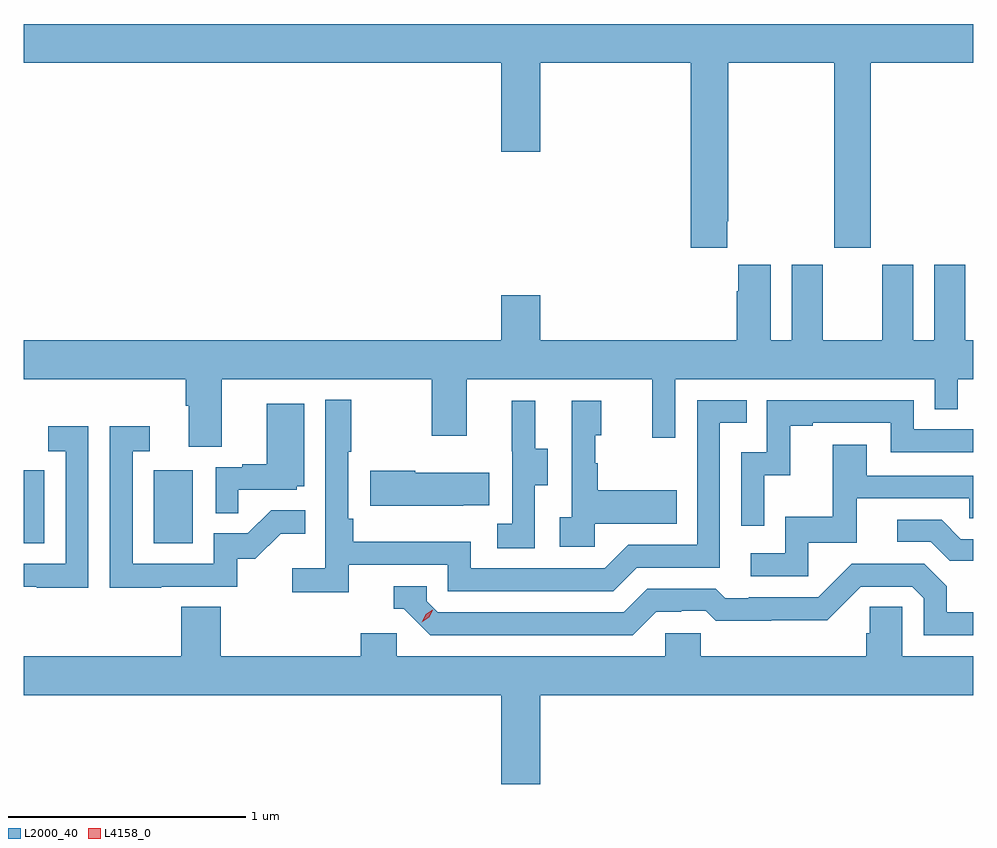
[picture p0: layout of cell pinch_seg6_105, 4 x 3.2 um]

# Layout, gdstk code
import gdstk
lib = gdstk.Library(unit=1e-6, precision=1e-09)
def R(c, l, rs):  # rectangles x0, y0, x1, y1
    for r in rs: c.add(gdstk.rectangle(r[:2], r[2:], *l))
def P(c, l, *ps):  # polygons
    for p in ps: c.add(gdstk.Polygon(p, *l))
L2000_40 = (2000, 40)
L4158_0 = (4158, 0)

pinch_seg6_105 = lib.new_cell('pinch_seg6_105')
R(pinch_seg6_105, L2000_40, [(894.265,922.668,894.352,922.975), (894.812,922.668,894.976,922.975)])
P(pinch_seg6_105, L2000_40, [(897.229,924.025),(897.234,924.025),(897.234,924.692),(897.679,924.692),(897.679,923.913),(897.834,923.913),(897.834,924.692),(898.265,924.692),(898.265,924.856),(894.265,924.856),(894.265,924.692),(896.276,924.692),(896.276,924.318),(896.44,924.318),(896.44,924.692),(897.074,924.692),(897.074,923.913),(897.229,923.913)],
  [(895.099,923.36),(895.984,923.36),(895.984,923.121),(896.131,923.121),(896.131,923.36),(896.912,923.36),(896.912,923.112),(897.009,923.112),(897.009,923.36),(898.104,923.36),(898.104,923.233),(898.2,923.233),(898.2,923.36),(898.265,923.36),(898.265,923.524),(898.231,923.524),(898.231,923.842),(898.1,923.842),(898.1,923.524),(898.012,923.524),(898.012,923.842),(897.881,923.842),(897.881,923.524),(897.631,923.524),(897.631,923.842),(897.5,923.842),(897.5,923.524),(897.412,923.524),(897.412,923.842),(897.275,923.842),(897.275,923.729),(897.269,923.729),(897.269,923.524),(896.44,923.524),(896.44,923.713),(896.276,923.713),(896.276,923.524),(894.265,923.524),(894.265,923.36),(894.947,923.36),(894.947,923.248),(894.959,923.248),(894.959,923.074),(895.099,923.074)],
  [(895.634,922.578),(896.052,922.578),(896.052,922.467),(896.749,922.467),(896.848,922.566),(897.198,922.566),(897.198,923.175),(897.311,923.175),(897.311,923.271),(897.102,923.271),(897.102,922.662),(896.811,922.662),(896.712,922.563),(896.148,922.563),(896.148,922.675),(895.652,922.675),(895.652,922.771),(895.632,922.771),(895.632,923.053),(895.645,923.053),(895.645,923.272),(895.536,923.272),(895.536,922.564),(895.395,922.564),(895.395,922.462),(895.634,922.462)],
  [(897.384,922.955),(897.494,922.955),(897.494,923.163),(897.589,923.163),(897.589,923.175),(897.918,923.175),(897.918,923.052),(898.265,923.052),(898.265,923.148),(898.014,923.148),(898.014,923.271),(897.396,923.271),(897.396,923.052),(897.288,923.052),(897.288,922.743),(897.384,922.743)],
  [(896.418,922.912),(896.473,922.912),(896.473,923.067),(896.419,923.067),(896.419,923.269),(896.321,923.269),(896.321,923.055),(896.322,923.055),(896.322,922.751),(896.259,922.751),(896.259,922.648),(896.418,922.648)],
  [(896.67,922.751),(897.017,922.751),(897.017,922.891),(896.683,922.891),(896.683,923.006),(896.673,923.006),(896.673,923.124),(896.698,923.124),(896.698,923.269),(896.574,923.269),(896.574,922.778),(896.523,922.778),(896.523,922.653),(896.67,922.653)],
  [(895.169,922.893),(895.416,922.893),(895.416,922.908),(895.447,922.908),(895.447,923.257),(895.289,923.257),(895.289,923.002),(895.185,923.002),(895.185,922.989),(895.074,922.989),(895.074,922.795),(895.169,922.795)],
  [(894.537,923.161),(894.369,923.161),(894.369,923.055),(894.441,923.055),(894.441,922.581),(894.265,922.581),(894.265,922.485),(894.319,922.485),(894.319,922.48),(894.537,922.48)],
  [(894.845,922.485),(895.164,922.485),(895.164,922.602),(895.24,922.602),(895.347,922.709),(895.451,922.709),(895.451,922.808),(895.307,922.808),(895.209,922.71),(895.065,922.71),(895.065,922.581),(894.723,922.581),(894.723,923.055),(894.796,923.055),(894.796,923.161),(894.627,923.161),(894.627,922.48),(894.845,922.48)],
  [(897.57,922.671),(897.775,922.671),(897.775,922.857),(898.249,922.857),(898.249,922.773),(898.265,922.773),(898.265,922.953),(897.817,922.953),(897.817,923.083),(897.673,923.083),(897.673,922.78),(897.474,922.78),(897.474,922.626),(897.327,922.626),(897.327,922.53),(897.57,922.53)],
  [(896.117,922.829),(896.225,922.829),(896.225,922.966),(895.915,922.966),(895.915,922.974),(895.724,922.974),(895.724,922.826),(896.117,922.826)],
  [(898.265,922.686),(898.213,922.686),(898.132,922.767),(897.945,922.767),(897.945,922.674),(898.086,922.674),(898.166,922.594),(898.265,922.594)],
  [(896.929,922.38),(897.036,922.38),(897.036,922.383),(897.139,922.383),(897.181,922.341),(897.414,922.341),(897.414,922.343),(897.65,922.343),(897.792,922.485),(898.008,922.485),(898.056,922.437),(898.056,922.281),(898.265,922.281),(898.265,922.377),(898.153,922.377),(898.153,922.487),(898.059,922.581),(897.753,922.581),(897.612,922.44),(897.319,922.44),(897.319,922.437),(897.22,922.437),(897.181,922.476),(896.892,922.476),(896.793,922.377),(896.01,922.377),(895.962,922.425),(895.962,922.488),(895.823,922.488),(895.823,922.392),(895.866,922.392),(895.977,922.281),(896.83,922.281)],
  [(896.44,922.028),(898.265,922.028),(898.265,922.192),(897.966,922.192),(897.966,922.4),(897.829,922.4),(897.829,922.29),(897.815,922.29),(897.815,922.192),(897.117,922.192),(897.117,922.29),(896.967,922.29),(896.967,922.192),(895.836,922.192),(895.836,922.29),(895.685,922.29),(895.685,922.192),(895.094,922.192),(895.094,922.4),(894.929,922.4),(894.929,922.192),(894.265,922.192),(894.265,922.028),(896.276,922.028),(896.276,921.654),(896.44,921.654)])
P(pinch_seg6_105, L4158_0, [(895.942,922.336),(895.942,922.336),(895.958,922.369),(895.988,922.389),(895.989,922.389),(895.989,922.389),(895.973,922.356),(895.942,922.336)])

lib.write_gds('pinch_seg6_105.gds')
